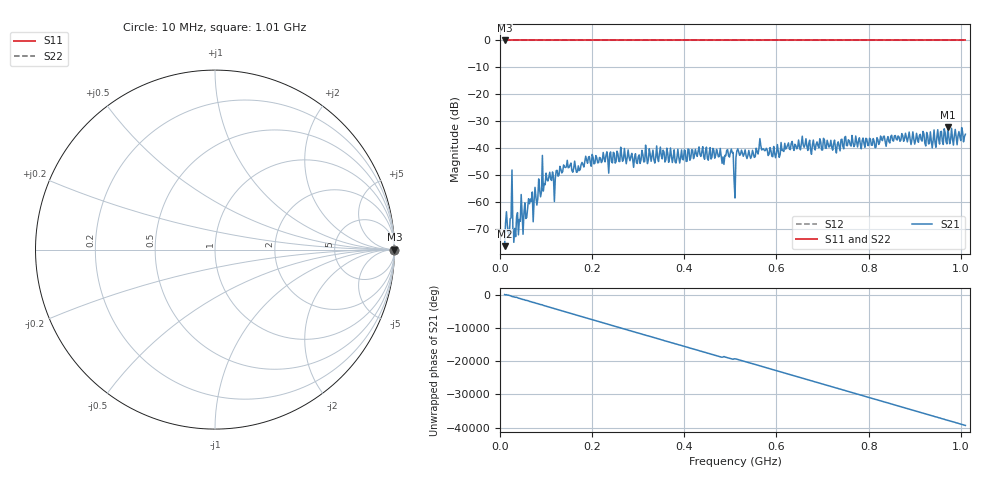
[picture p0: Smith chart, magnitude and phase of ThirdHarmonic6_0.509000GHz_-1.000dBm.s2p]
! 8/15/2025 3:28:59 PM
! C:\ANRITSUVNA\TEMP\TEMP.S2P
! CHANNEL.1
! TR.MEASUREMENT
! RAW.DATA
! RF.CORRECTION.OFF
! AVERAGING.OFF
! IF.BANDWIDTH: 5KHZ
! SWEEPTYPE:  FREQ.SWEEP(Linear)
! Reference Plane Port Info
! PORT:  PORT1  PORT2
! DISTANCE:  0  m  0  m
! TIME:  0  s  0  s
! PHASE.OFFSET:  0  deg.  0  deg.
! LOSS:  0  dB  0  dB
! REF.LOSS:  0  dB  0  dB
! REF.FREQ:  0  Hz  0  Hz
! Power Info
! POWER:  -20  dBm  -20  dBm
! EFF.POWER:  -20  dBm  -20  dBm
! SOURCE.ATTEN:  0  dB  0  dB
! TEST.ATTEN:  0  dB  0  dB
# GHZ S RI R 50.0
! FREQ.GHZ  S11RE  S11IM  S21RE  S21IM  S12RE  S12IM  S22RE  S22IM
!; PortSelection: Port_12
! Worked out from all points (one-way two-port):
!   501 points, 10 MHz to 1.01 GHz, reference 50 ohm
!   highest |S21| = -32.14 dB at 972 MHz (marker M1); lowest = -76.4 dB at 10 MHz (marker M2)
!   lowest |S11| = 0.0 dB at 10 MHz (marker M3)
!   |S11| at or under -10 dB: nowhere
!   |S22| runs from 0.0 to 0.0 dB; largest |S21 - S12| = 1
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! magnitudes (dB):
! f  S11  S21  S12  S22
! 10 MHz  0.0  -76.4  0.0  0.0
! 20 MHz  0.0  -73.3  0.0  0.0
! 22 MHz  0.0  -66.2  0.0  0.0
! 28 MHz  0.0  -70.3  0.0  0.0
! 32 MHz  0.0  -69.8  0.0  0.0
! 42 MHz  0.0  -66.5  0.0  0.0
! 54 MHz  0.0  -60.3  0.0  0.0
! 66 MHz  0.0  -58.9  0.0  0.0
! 96 MHz  0.0  -53.1  0.0  0.0
! 116 MHz  0.0  -50.6  0.0  0.0
! 142 MHz  0.0  -47.2  0.0  0.0
! 178 MHz  0.0  -45.3  0.0  0.0
! 344 MHz  0.0  -45.0  0.0  0.0
! 502 MHz  0.0  -40.3  0.0  0.0
! 510 MHz  0.0  -58.5  0.0  0.0
! 516 MHz  0.0  -40.3  0.0  0.0
! 566 MHz  0.0  -39.0  0.0  0.0
! 594 MHz  0.0  -39.4  0.0  0.0
! 678 MHz  0.0  -38.8  0.0  0.0
! 844 MHz  0.0  -37.5  0.0  0.0
! 972 MHz  0.0  -32.1  0.0  0.0
! 1.01 GHz  0.0  -34.8  0.0  0.0
